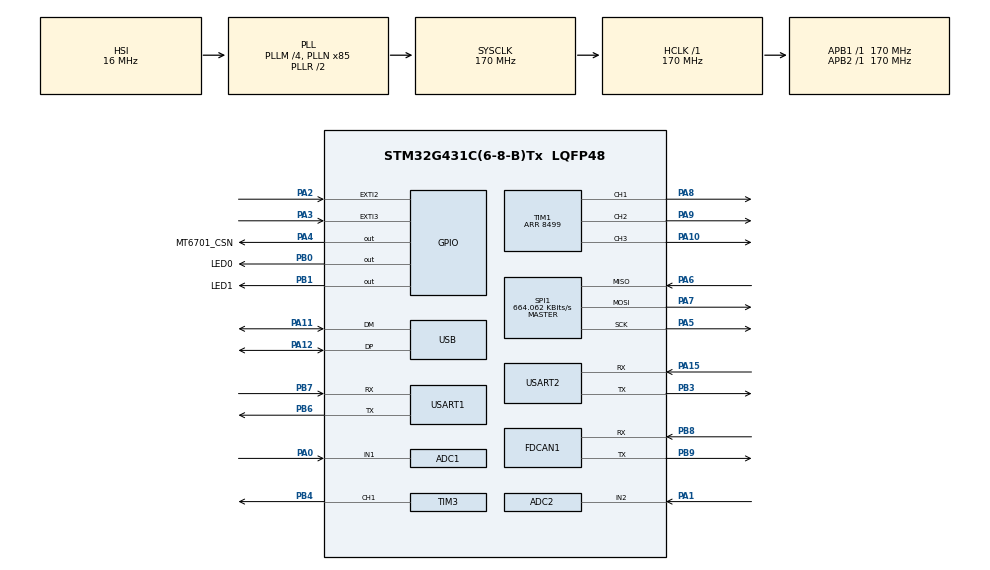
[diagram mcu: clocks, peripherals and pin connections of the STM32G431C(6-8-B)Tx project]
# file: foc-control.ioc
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ADC1.EnableInjectedConversion=ENABLE
ADC1.EnableRegularConversion=DISABLE
ADC1.ExternalTrigInjecConv=ADC_EXTERNALTRIGINJEC_T1_TRGO
ADC1.InjNumberOfConversion=1
ADC1.InjectedChannel-3\#ChannelInjectedConversion=ADC_CHANNEL_1
ADC1.InjectedOffsetNumber-3\#ChannelInjectedConversion=ADC_OFFSET_NONE
ADC1.InjectedRank-3\#ChannelInjectedConversion=1
ADC1.InjectedSamplingTime-3\#ChannelInjectedConversion=ADC_SAMPLETIME_12CYCLES_5
ADC1.Mode=ADC_DUALMODE_INJECSIMULT
ADC1.Rank1_Channel=ADC_CHANNEL_1
ADC1.master=1
ADC2.EnableInjectedConversion=ENABLE
ADC2.EnableInjectedOversampling=DISABLE
ADC2.EnableRegularConversion=DISABLE
ADC2.InjNumberOfConversion=1
ADC2.InjectedChannel-7\#ChannelInjectedConversion=ADC_CHANNEL_2
ADC2.InjectedOffsetNumber-7\#ChannelInjectedConversion=ADC_OFFSET_NONE
ADC2.InjectedRank-7\#ChannelInjectedConversion=1
ADC2.InjectedSamplingTime-7\#ChannelInjectedConversion=ADC_SAMPLETIME_12CYCLES_5
ADC2.Mode=ADC_DUALMODE_INJECSIMULT
ADC2.Rank1_Channel=ADC_CHANNEL_2
ADC2.Rank2_Channel=ADC_CHANNEL_2
Dma.Request0=SPI1_RX
Dma.Request1=SPI1_TX
Dma.SPI1_RX.0.Direction=DMA_PERIPH_TO_MEMORY
Dma.SPI1_RX.0.EventEnable=DISABLE
Dma.SPI1_RX.0.Instance=DMA1_Channel1
Dma.SPI1_RX.0.MemDataAlignment=DMA_MDATAALIGN_BYTE
Dma.SPI1_RX.0.MemInc=DMA_MINC_ENABLE
Dma.SPI1_RX.0.Mode=DMA_NORMAL
Dma.SPI1_RX.0.PeriphDataAlignment=DMA_PDATAALIGN_BYTE
Dma.SPI1_RX.0.PeriphInc=DMA_PINC_DISABLE
Dma.SPI1_RX.0.Polarity=HAL_DMAMUX_REQ_GEN_RISING
Dma.SPI1_RX.0.Priority=DMA_PRIORITY_LOW
Dma.SPI1_RX.0.RequestNumber=1
Dma.SPI1_RX.0.SignalID=NONE
Dma.SPI1_RX.0.SyncEnable=DISABLE
Dma.SPI1_RX.0.SyncPolarity=HAL_DMAMUX_SYNC_NO_EVENT
Dma.SPI1_RX.0.SyncRequestNumber=1
Dma.SPI1_RX.0.SyncSignalID=NONE
Dma.SPI1_TX.1.Direction=DMA_MEMORY_TO_PERIPH
Dma.SPI1_TX.1.EventEnable=DISABLE
Dma.SPI1_TX.1.Instance=DMA1_Channel2
Dma.SPI1_TX.1.MemDataAlignment=DMA_MDATAALIGN_BYTE
Dma.SPI1_TX.1.MemInc=DMA_MINC_ENABLE
Dma.SPI1_TX.1.Mode=DMA_NORMAL
Dma.SPI1_TX.1.PeriphDataAlignment=DMA_PDATAALIGN_BYTE
Dma.SPI1_TX.1.PeriphInc=DMA_PINC_DISABLE
Dma.SPI1_TX.1.Polarity=HAL_DMAMUX_REQ_GEN_RISING
Dma.SPI1_TX.1.Priority=DMA_PRIORITY_LOW
Dma.SPI1_TX.1.RequestNumber=1
Dma.SPI1_TX.1.SignalID=NONE
Dma.SPI1_TX.1.SyncEnable=DISABLE
Dma.SPI1_TX.1.SyncPolarity=HAL_DMAMUX_SYNC_NO_EVENT
Dma.SPI1_TX.1.SyncRequestNumber=1
Dma.SPI1_TX.1.SyncSignalID=NONE
FDCAN1.CalculateBaudRateNominal=3541666
FDCAN1.CalculateTimeBitNominal=282
FDCAN1.CalculateTimeQuantumNominal=94.11764705882354
Mcu.Family=STM32G4
Mcu.Name=STM32G431C(6-8-B)Tx
Mcu.Package=LQFP48
NVIC.ADC1_2_IRQn=true\:0\:0\:true\:false\:true\:true\:true\:true
NVIC.DMA1_Channel1_IRQn=true\:1\:0\:true\:false\:true\:false\:true\:true
NVIC.DMA1_Channel2_IRQn=true\:1\:0\:true\:false\:true\:false\:true\:true
NVIC.PriorityGroup=NVIC_PRIORITYGROUP_4
NVIC.SPI1_IRQn=true\:1\:0\:true\:false\:true\:true\:true\:true
NVIC.TIM2_IRQn=true\:3\:0\:true\:false\:true\:true\:true\:true
NVIC.USART1_IRQn=true\:4\:0\:true\:false\:true\:true\:true\:true
NVIC.USART2_IRQn=true\:4\:0\:true\:false\:true\:true\:true\:true
NVIC.USB_LP_IRQn=true\:0\:0\:false\:false\:true\:false\:true\:true
PA0.Mode=IN1-Single-Ended
PA0.Signal=ADC1_IN1
PA1.Mode=IN2-Single-Ended
PA1.Signal=ADC2_IN2
PA10.GPIO_Speed=GPIO_SPEED_FREQ_VERY_HIGH
PA10.Signal=S_TIM1_CH3
PA11.Mode=Device
PA11.Signal=USB_DM
PA12.Mode=Device
PA12.Signal=USB_DP
PA13.Mode=Serial_Wire
PA13.Signal=SYS_JTMS-SWDIO
PA14.Mode=Serial_Wire
PA14.Signal=SYS_JTCK-SWCLK
PA15.Mode=Asynchronous
PA15.Signal=USART2_RX
PA2.Signal=GPXTI2
PA3.Signal=GPXTI3
PA4.GPIO_Label=MT6701_CSN
PA4.PinState=GPIO_PIN_SET
PA4.Signal=GPIO_Output
PA5.Mode=Full_Duplex_Master
PA5.Signal=SPI1_SCK
PA6.Mode=Full_Duplex_Master
PA6.Signal=SPI1_MISO
PA7.Mode=Full_Duplex_Master
PA7.Signal=SPI1_MOSI
PA8.GPIO_Speed=GPIO_SPEED_FREQ_VERY_HIGH
PA8.Signal=S_TIM1_CH1
PA9.GPIO_Speed=GPIO_SPEED_FREQ_VERY_HIGH
PA9.Signal=S_TIM1_CH2
PB0.GPIO_Label=LED0
PB0.Signal=GPIO_Output
PB1.GPIO_Label=LED1
PB1.Signal=GPIO_Output
PB3.Mode=Asynchronous
PB3.Signal=USART2_TX
PB4.GPIO_Speed=GPIO_SPEED_FREQ_MEDIUM
PB4.Signal=S_TIM3_CH1
PB6.Mode=Asynchronous
PB6.Signal=USART1_TX
PB7.Mode=Asynchronous
PB7.Signal=USART1_RX
PB8-BOOT0.Mode=FDCAN_Activate
PB8-BOOT0.Signal=FDCAN1_RX
PB9.Mode=FDCAN_Activate
PB9.Signal=FDCAN1_TX
ProjectManager.HeapSize=0x200
ProjectManager.StackSize=0x400
ProjectManager.TargetToolchain=CMake
RCC.ADC12Freq_Value=170000000
RCC.AHBFreq_Value=170000000
RCC.APB1Freq_Value=170000000
RCC.APB1TimFreq_Value=170000000
RCC.APB2Freq_Value=170000000
RCC.APB2TimFreq_Value=170000000
RCC.CK48CLockSelection=RCC_USBCLKSOURCE_HSI48
RCC.CortexFreq_Value=170000000
RCC.EXTERNAL_CLOCK_VALUE=12288000
RCC.HCLKFreq_Value=170000000
RCC.HSE_VALUE=8000000
RCC.HSI48_VALUE=48000000
RCC.HSI_VALUE=16000000
RCC.LSE_VALUE=32768
RCC.PLLM=RCC_PLLM_DIV4
RCC.PLLN=85
RCC.SYSCLKFreq_VALUE=170000000
RCC.SYSCLKSource=RCC_SYSCLKSOURCE_PLLCLK
RCC.VCOOutputFreq_Value=340000000
SH.S_TIM1_CH1.0=TIM1_CH1,PWM Generation1 CH1
SH.S_TIM1_CH2.0=TIM1_CH2,PWM Generation2 CH2
SH.S_TIM1_CH3.0=TIM1_CH3,PWM Generation3 CH3
SH.S_TIM3_CH1.0=TIM3_CH1,PWM Generation1 CH1
SPI1.BaudRatePrescaler=SPI_BAUDRATEPRESCALER_256
SPI1.CLKPhase=SPI_PHASE_2EDGE
SPI1.CalculateBaudRate=664.062 KBits/s
SPI1.DataSize=SPI_DATASIZE_8BIT
SPI1.Direction=SPI_DIRECTION_2LINES
SPI1.Mode=SPI_MODE_MASTER
SPI1.VirtualType=VM_MASTER
STMicroelectronics.X-CUBE-ALGOBUILD.1.4.0.LibraryCcDSPOoLibraryJjDSPOoLibrary=true
TIM1.AutoReloadPreload=TIM_AUTORELOAD_PRELOAD_ENABLE
TIM1.Channel-PWM\ Generation1\ CH1=TIM_CHANNEL_1
TIM1.Channel-PWM\ Generation2\ CH2=TIM_CHANNEL_2
TIM1.Channel-PWM\ Generation3\ CH3=TIM_CHANNEL_3
TIM1.Channel-PWM\ Generation4\ No\ Output=TIM_CHANNEL_4
TIM1.CounterMode=TIM_COUNTERMODE_CENTERALIGNED3
TIM1.PeriodNoDither=8499
TIM1.PulseNoDither_4=1
TIM1.RepetitionCounter=0
TIM1.TIM_MasterOutputTrigger=TIM_TRGO_OC4REF
TIM1.TIM_MasterSlaveMode=TIM_MASTERSLAVEMODE_ENABLE
TIM2.PeriodNoDither=1000-1
TIM2.Prescaler=170-1
TIM3.Channel-PWM\ Generation1\ CH1=TIM_CHANNEL_1
USART1.VirtualMode-Asynchronous=VM_ASYNC
USART2.VirtualMode-Asynchronous=VM_ASYNC
USB_DEVICE.CLASS_NAME_FS=CDC
USB_DEVICE.VirtualMode=Cdc
USB_DEVICE.VirtualModeFS=Cdc_FS
VP_RCC_VS_USB.Mode=USB_FS
VP_STMicroelectronics.X-CUBE-ALGOBUILD_VS_DSPOoLibraryJjLibrary_1.4.0_1.4.0.Mode=DSPOoLibraryJjLibrary
VP_SYS_VS_DBSignals.Mode=DisableDeadBatterySignals
VP_TIM1_VS_ClockSourceINT.Mode=Internal
VP_TIM1_VS_no_output4.Mode=PWM Generation4 No Output
VP_TIM2_VS_ClockSourceINT.Mode=Internal
VP_USB_DEVICE_VS_USB_DEVICE_CDC_FS.Mode=CDC_FS
board=custom

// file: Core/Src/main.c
/* USER CODE BEGIN Header */
/**
  ******************************************************************************
  * @file           : main.c
  * @brief          : Main program body
  ******************************************************************************
  * @attention
  *
  * Copyright (c) 2026 STMicroelectronics.
  * All rights reserved.
  *
  * This software is licensed under terms that can be found in the LICENSE file
  * in the root directory of this software component.
  * If no LICENSE file comes with this software, it is provided AS-IS.
  *
  ******************************************************************************
  */
/* USER CODE END Header */
#include "main.h"
#include "adc.h"
#include "dma.h"
#include "fdcan.h"
#include "spi.h"
#include "tim.h"
#include "usart.h"
#include "usb_device.h"
#include "gpio.h"

/* USER CODE BEGIN Includes */
#include "JerryFOC.h"
#include "MT6701.h"
#include "angle_src_encoder.h"
#include "angle_src_smo.h"
#include "startup.h"
#include <stdlib.h> // for atof
#include <string.h> // for strncmp
/* USER CODE END Includes */

void SystemClock_Config(void);

/* USER CODE BEGIN 0 */
uint8_t rx_byte;
char rx_buffer[32];
uint8_t rx_index = 0;
volatile uint8_t g_need_align = 0;
volatile uint8_t g_is_sensorless = 0; // 上电默认使用C2804编码器有感模式

// 开环诊断模式全局变量（定义在 JerryFOC.c）
extern volatile uint8_t g_openloop_debug;
extern volatile float g_openloop_angle;
extern volatile float JerryFOC_Target_Velocity;  // 当前目标速度

// 无感启动配置
static StartupConfig startup_cfg = {
    .align_current = 0.40f,
    .align_duration = 0.7f,
    .align_angle = 0.0f,
    .openloop_Iq = 0.40f,
    .openloop_ramp = 10.0f,
    .switch_speed = 15.0f,
    .switch_duration = 0.6f,
    .lock_duration = 0.05f,
    .switch_timeout = 5.0f,
    .lock_loss_timeout = 0.10f,
    .lock_speed_tolerance = 6.0f,
    .lock_phase_tolerance = 1.2f,
};
static AngleSource *g_smo_src = NULL;  // 保存 SMO 角度源，切换时复用

void HAL_UART_RxCpltCallback(UART_HandleTypeDef *huart) {
    if(huart->Instance == USART1) {
        if(rx_byte == '\n') {
            rx_buffer[rx_index] = '\0';

            if (strncmp(rx_buffer, "Speed:", 6) == 0) {
                float target = atof(rx_buffer + 6);
                // 有感速度环和编码器反馈均支持有符号速度，负目标必须
                // 原样传入；只有尚未扩展反向启动的无感模式按停止处理。
                if (g_is_sensorless && target < 0.0f) target = 0.0f;
                uint32_t primask = __get_PRIMASK();
                __disable_irq();

                if (target == 0.0f && g_is_sensorless) {
                    // 纯无感在零速时没有可观测的反电动势。Speed:0 应直接
                    // 退出启动/闭环并撤掉转矩，不能重新触发启动状态机。
                    JerryFOC_setVelocity(0.0f);
                    JerryFOC_setCurrent(0.0f);
                    JerryFOC_setMode(JERRYFOC_MODE_TORQUE);
                    Startup_Stop();
                } else {
                    // 只有非零无感速度命令才启动状态机；有感模式直接闭环。
                    StartupState startup_state = Startup_GetState();
                    if (g_is_sensorless &&
                        (startup_state == STARTUP_IDLE || startup_state == STARTUP_FAULT)) {
                        Startup_Init(7, &startup_cfg, 10000.0f);
                        Startup_Begin();
                    }
                    JerryFOC_setMode(JERRYFOC_MODE_VELOCITY);
                    JerryFOC_setVelocity(target);
                }
                if (!primask) __enable_irq();
            } else if (strncmp(rx_buffer, "Angle:", 6) == 0) {
                float target = atof(rx_buffer + 6);
                uint32_t primask = __get_PRIMASK();
                __disable_irq();
                JerryFOC_setMode(JERRYFOC_MODE_POSITION);
                JerryFOC_setPosition(target, 0.0f);
                if (!primask) __enable_irq();
            } else if (strncmp(rx_buffer, "Torque:", 7) == 0) {
                float target = atof(rx_buffer + 7);
                uint32_t primask = __get_PRIMASK();
                __disable_irq();
                JerryFOC_setMode(JERRYFOC_MODE_TORQUE);
                JerryFOC_setCurrent(target);
                if (!primask) __enable_irq();
            } else if (strncmp(rx_buffer, "Motor:", 6) == 0) {
                int id = atoi(rx_buffer + 6);
                uint32_t primask = __get_PRIMASK();
                __disable_irq();
                g_is_sensorless = 0; // 切换为有感
                g_openloop_debug = 0;
                JerryFOC_setMode(JERRYFOC_MODE_TORQUE);
                JerryFOC_setVelocity(0.0f);
                JerryFOC_setCurrent(0.0f);
                Startup_Stop();
                MT6701_StartContinuous();
                JerryFOC_selectMotor((JerryFOC_MotorID)id);
                JerryFOC_setAngleSource(AngleSrc_Encoder_Init(7));
                if (id == JERRYFOC_MOTOR_C2804) {
                    g_need_align = 1;
                }
                if (!primask) __enable_irq();
            } else if (strcmp(rx_buffer, "Sensorless") == 0) {
                // 只负责配置/待机；随后 Speed 命令启动 ALIGN->OPENLOOP 流程。
                uint32_t primask = __get_PRIMASK();
                __disable_irq();
                MT6701_StopContinuous();
                g_is_sensorless = 1;
                g_openloop_debug = 0;
                JerryFOC_selectMotor(JERRYFOC_MOTOR_C2208);
                JerryFOC_useCurrentLoop(1);
                JerryFOC_setMode(JERRYFOC_MODE_TORQUE);
                JerryFOC_setVelocity(15.0f);
                JerryFOC_setCurrent(0.0f);
                g_openloop_angle = 0.0f;
                g_smo_src = AngleSrc_SMO_Create(&MOTOR_C2208, 10000.0f);
                JerryFOC_setAngleSource(g_smo_src);
                Startup_Init(7, &startup_cfg, 10000.0f);
                if (!primask) __enable_irq();
            } else if (strcmp(rx_buffer, "Lock") == 0) {
                // 手动命令只能请求安全切换，不能绕过反电势/速度/相位判据。
                if (g_is_sensorless) {
                    uint32_t primask = __get_PRIMASK();
                    __disable_irq();
                    g_openloop_debug = 0;
                    JerryFOC_useCurrentLoop(1);
                    if (g_smo_src) JerryFOC_setAngleSource(g_smo_src);
                    StartupState startup_state = Startup_GetState();
                    if (startup_state == STARTUP_IDLE || startup_state == STARTUP_FAULT) {
                        Startup_Begin();
                    }
                    Startup_ForceClosed();
                    JerryFOC_setMode(JERRYFOC_MODE_VELOCITY);
                    if (!primask) __enable_irq();
                }
            } else if (strncmp(rx_buffer, "OpenLoop:", 9) == 0) {
                // 纯开环诊断：固定电压 + 旋转角度
                // 格式：OpenLoop:速度,电压  例如 OpenLoop:30,6
                float speed = 10.0f, voltage = 4.0f;
                char *comma = strchr(rx_buffer + 9, ',');
                if (comma) {
                    *comma = '\0';
                    speed = atof(rx_buffer + 9);
                    voltage = atof(comma + 1);
                } else {
                    speed = atof(rx_buffer + 9);
                }
                if (speed < 2.0f) speed = 10.0f;
                if (voltage < 0.5f) voltage = 0.5f;
                if (voltage > 11.0f) voltage = 11.0f;
                uint32_t primask = __get_PRIMASK();
                __disable_irq();
                g_is_sensorless = 0;
                Startup_Stop();
                MT6701_StartContinuous();
                JerryFOC_selectMotor(JERRYFOC_MOTOR_C2208);
                JerryFOC_useCurrentLoop(0);
                JerryFOC_setAngleSource(AngleSrc_Encoder_Init(7));
                JerryFOC_setMode(JERRYFOC_MODE_TORQUE);
                JerryFOC_setVelocity(speed);
                JerryFOC_setCurrent(voltage);
                g_openloop_debug = 1;
                g_openloop_angle = 0.0f;
                if (!primask) __enable_irq();
            }

            rx_index = 0;
        } else if (rx_byte != '\r') {
            if(rx_index < 31) {
                rx_buffer[rx_index++] = rx_byte;
            }
        }
        HAL_UART_Receive_IT(&huart1, &rx_byte, 1);
    }
}
/* USER CODE END 0 */

int main(void)
{

  /* MCU Configuration--------------------------------------------------------*/

  /* Reset of all peripherals, Initializes the Flash interface and the Systick. */
  HAL_Init();

  /* Configure the system clock */
  SystemClock_Config();

  /* Initialize all configured peripherals */
  MX_GPIO_Init();
  MX_DMA_Init();
  MX_ADC1_Init();
  MX_TIM1_Init();
  MX_ADC2_Init();
  MX_SPI1_Init();
  MX_TIM3_Init();
  MX_USB_Device_Init();
  MX_USART1_UART_Init();
  MX_FDCAN1_Init();
  MX_TIM2_Init();
  MX_USART2_UART_Init();
  /* USER CODE BEGIN 2 */
  // 1. 开启 DWT 计数器，提供微秒级精度支持
  CoreDebug->DEMCR |= CoreDebug_DEMCR_TRCENA_Msk;
  DWT->CYCCNT = 0;
  DWT->CTRL |= DWT_CTRL_CYCCNTENA_Msk;

  // 2. 开启 TIM1 三个通道的 PWM 输出
  HAL_TIM_PWM_Start(&htim1, TIM_CHANNEL_1);
  HAL_TIM_PWM_Start(&htim1, TIM_CHANNEL_2);
  HAL_TIM_PWM_Start(&htim1, TIM_CHANNEL_3);

  // 3. 上电默认进入C2804有感模式，开启由ADC节拍调度的MT6701采样。
  MT6701_StartContinuous();

  // 4. 开启 USART1 串口中断接收
  HAL_UART_Receive_IT(&huart1, &rx_byte, 1);
  HAL_UART_Transmit(&huart1, (uint8_t*)"TEST\r\n", 6, 100);

  // 5. ADC 上电自校准
  HAL_ADCEx_Calibration_Start(&hadc1, ADC_SINGLE_ENDED);
  HAL_ADCEx_Calibration_Start(&hadc2, ADC_SINGLE_ENDED);

  // ===== 6. 初始化角度源：默认使用C2804的MT6701编码器 =====
  AngleSource *encoder_src = AngleSrc_Encoder_Init(MOTOR_C2804.pole_pairs);
  g_smo_src = AngleSrc_SMO_Create(&MOTOR_C2208, 10000.0f);
  JerryFOC_setAngleSource(encoder_src);

  // ===== 7. 默认电机：C2804有感电压模式 =====
  JerryFOC_selectMotor(JERRYFOC_MOTOR_C2804);
  JerryFOC_useCurrentLoop(0);

  // ===== 8. 播放大疆启动音效 =====
  JerryFOC_playStartupSound();

  // ===== 9. 零转矩待机并请求C2804编码器零点标定 =====
  JerryFOC_setMode(JERRYFOC_MODE_TORQUE);
  JerryFOC_setCurrent(0.0f);  // 上电不输出力矩
  Startup_Init(7, &startup_cfg, 10000.0f);
  g_need_align = 1U;

  // 10. 开启 ADC 注入组：从机先启动，主机转换完成中断驱动 10kHz FOC。
  HAL_ADCEx_InjectedStart_IT(&hadc2);
  HAL_ADCEx_InjectedStart_IT(&hadc1);

  // 开启 TIM2 定时器中断（1ms 速度/位置外环）
  HAL_TIM_Base_Start_IT(&htim2);

  /* USER CODE END 2 */

  /* Infinite loop */
  while (1)
  {

    /* USER CODE BEGIN 3 */
    if (g_need_align) {
        g_need_align = 0;
        // 先停掉所有控制，设为空载
        JerryFOC_setMode(JERRYFOC_MODE_TORQUE);
        JerryFOC_setCurrent(0.0f);
        // 使用编码器角度源，并调用阻塞式对齐函数
        JerryFOC_setAngleSource(AngleSrc_Encoder_Init(JerryFOC_getMotorParams()->pole_pairs));
        JerryFOC_alignSensor();
    }

    // 10kHz FOC 已由 ADC 注入完成中断驱动；主循环只处理低优先级任务。
  }
  /* USER CODE END 3 */
}

void SystemClock_Config(void)
{
  RCC_OscInitTypeDef RCC_OscInitStruct = {0};
  RCC_ClkInitTypeDef RCC_ClkInitStruct = {0};
  RCC_CRSInitTypeDef pInit = {0};

  /** Configure the main internal regulator output voltage
  */
  HAL_PWREx_ControlVoltageScaling(PWR_REGULATOR_VOLTAGE_SCALE1_BOOST);

  /** Initializes the RCC Oscillators according to the specified parameters
  * in the RCC_OscInitTypeDef structure.
  */
  RCC_OscInitStruct.OscillatorType = RCC_OSCILLATORTYPE_HSI|RCC_OSCILLATORTYPE_HSI48;
  RCC_OscInitStruct.HSIState = RCC_HSI_ON;
  RCC_OscInitStruct.HSICalibrationValue = RCC_HSICALIBRATION_DEFAULT;
  RCC_OscInitStruct.HSI48State = RCC_HSI48_ON;
  RCC_OscInitStruct.PLL.PLLState = RCC_PLL_ON;
  RCC_OscInitStruct.PLL.PLLSource = RCC_PLLSOURCE_HSI;
  RCC_OscInitStruct.PLL.PLLM = RCC_PLLM_DIV4;
  RCC_OscInitStruct.PLL.PLLN = 85;
  RCC_OscInitStruct.PLL.PLLP = RCC_PLLP_DIV2;
  RCC_OscInitStruct.PLL.PLLQ = RCC_PLLQ_DIV2;
  RCC_OscInitStruct.PLL.PLLR = RCC_PLLR_DIV2;
  if (HAL_RCC_OscConfig(&RCC_OscInitStruct) != HAL_OK)
  {
    Error_Handler();
  }

  /** Initializes the CPU, AHB and APB buses clocks
  */
  RCC_ClkInitStruct.ClockType = RCC_CLOCKTYPE_HCLK|RCC_CLOCKTYPE_SYSCLK
                              |RCC_CLOCKTYPE_PCLK1|RCC_CLOCKTYPE_PCLK2;
  RCC_ClkInitStruct.SYSCLKSource = RCC_SYSCLKSOURCE_PLLCLK;
  RCC_ClkInitStruct.AHBCLKDivider = RCC_SYSCLK_DIV1;
  RCC_ClkInitStruct.APB1CLKDivider = RCC_HCLK_DIV1;
  RCC_ClkInitStruct.APB2CLKDivider = RCC_HCLK_DIV1;

  if (HAL_RCC_ClockConfig(&RCC_ClkInitStruct, FLASH_LATENCY_4) != HAL_OK)
  {
    Error_Handler();
  }

  /** Enable the SYSCFG APB clock
  */
  __HAL_RCC_CRS_CLK_ENABLE();

  /** Configures CRS
  */
  pInit.Prescaler = RCC_CRS_SYNC_DIV1;
  pInit.Source = RCC_CRS_SYNC_SOURCE_USB;
  pInit.Polarity = RCC_CRS_SYNC_POLARITY_RISING;
  pInit.ReloadValue = __HAL_RCC_CRS_RELOADVALUE_CALCULATE(48000000,1000);
  pInit.ErrorLimitValue = 34;
  pInit.HSI48CalibrationValue = 32;

  HAL_RCCEx_CRSConfig(&pInit);
}

void Error_Handler(void)
{
  __disable_irq();
  while (1)
  {
  }
}
